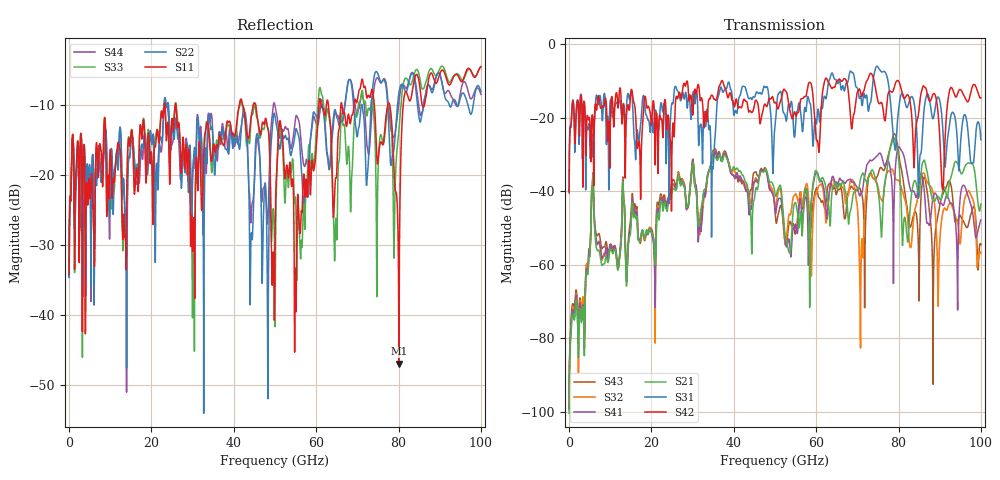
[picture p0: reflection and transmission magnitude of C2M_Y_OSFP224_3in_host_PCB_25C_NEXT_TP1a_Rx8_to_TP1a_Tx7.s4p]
# GHz S RI R 45
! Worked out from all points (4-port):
!   4000 points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, 25 MHz to 100 GHz, reference 45 ohm
!   strongest paths, dB at 25 MHz, 25.02 GHz, 50.02 GHz, 75.03 GHz, 100 GHz:
!     S42: -40.4, -26.7, -15.9, -15.6, -14.6
!     S31: -40.1, -16.0, -22.2, -6.3, -26.0
!     S21: -100.4, -39.9, -40.8, -40.0, -43.5
!     S41: -99.4, -38.2, -45.2, -30.1, -47.8
!     S32: -98.5, -38.8, -43.5, -38.8, -56.9
!     S43: -97.8, -37.3, -45.6, -35.4, -54.5
!   lowest |S11| = -47.0 dB at 80.1 GHz (marker M1), VSWR 1.01, Z = 44.9 - j0.389 ohm
!   |S11| at or under -10 dB: start of sweep to 23.08 GHz; 25.96 GHz to 41.34 GHz (15.38 GHz wide, 45.7 % of centre); 45.34 GHz to 60.66 GHz (15.32 GHz wide, 28.9 % of centre) (the widest 3 of 11)
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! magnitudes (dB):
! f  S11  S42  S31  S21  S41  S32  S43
! 25 MHz  -34.2  -40.4  -40.1  -100.4  -99.4  -98.5  -97.8
! 5.8 GHz  -24.2  -20.4  -28.9  -35.3  -35.1  -35.2  -35.0
! 68.7 GHz  -11.4  -22.8  -7.7  -43.0  -37.6  -36.8  -38.8
! 70.97 GHz  -6.7  -14.1  -15.1  -35.9  -40.4  -56.2  -40.4
! 80.1 GHz  -47.0  -10.2  -17.1  -32.2  -27.9  -37.1  -30.3
! 90.67 GHz  -5.0  -39.4  -21.7  -40.4  -43.7  -46.2  -41.1
! 100 GHz  -4.5  -14.6  -26.0  -43.5  -47.8  -56.9  -54.5
